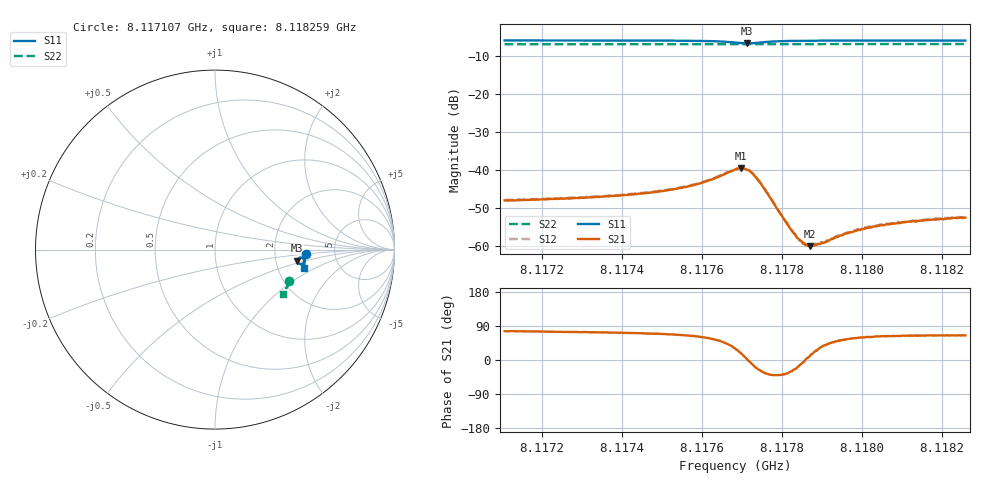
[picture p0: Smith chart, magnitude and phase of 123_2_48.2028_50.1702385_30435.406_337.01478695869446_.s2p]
#  HZ  S  RI  R  50.00
! Rohde & Schwarz Vector Network Analyzer
! Rohde-Schwarz,ZNB20-2Port,1311601062101988,3.16
! Created: UTC 3/20/2024, 11:41:35 AM
! freq[Hz]  re:S11  im:S11  re:S21  im:S21  re:S12  im:S12  re:S22  im:S22
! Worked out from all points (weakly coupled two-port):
!   401 points, 8.117107 GHz to 8.118259 GHz, reference 50 ohm
!   highest |S21| = -39.55 dB at 8.117697 GHz (marker M1); lowest = -60.1 dB at 8.11787 GHz (marker M2)
!   lowest |S11| = -6.7 dB at 8.117712 GHz (marker M3), VSWR 2.72, Z = 132 - j20.7 ohm
!   |S11| at or under -10 dB: nowhere
!   |S22| runs from -6.9 to -6.9 dB; largest |S21 - S12| = 0.00043
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8.1171067e9  0.5053 -0.0253  0.000957 0.00383  0.00101 0.00387  0.415 -0.1766
8.1172997e9  0.5038 -0.0412  0.0012 0.00412  0.00127 0.00417  0.4102 -0.1893
8.1173947e9  0.5025 -0.0496  0.00143 0.00434  0.00152 0.00441  0.4074 -0.1954
8.1174927e9  0.5003 -0.0593  0.00183 0.00482  0.00197 0.00492  0.4046 -0.2017
8.1175935e9  0.4944 -0.0721  0.00316 0.00578  0.00328 0.00588  0.4013 -0.2084
8.1176828e9  0.4678 -0.0792  0.00869 0.00514  0.00888 0.00525  0.3976 -0.2135
8.1176972e9  0.4606 -0.0727  0.01 0.00325  0.0101 0.00322  0.3969 -0.214
8.1177116e9  0.4577 -0.0616  0.01 0.000655  0.0104 0.000486  0.3965 -0.2145
8.1177231e9  0.4606 -0.0526  0.00916 -0.0014  0.00923 -0.00157  0.3965 -0.2146
8.1177404e9  0.4706 -0.0449  0.00662 -0.00305  0.0068 -0.00309  0.3964 -0.2156
8.117798e9  0.4928 -0.0521  0.00198 -0.00161  0.00198 -0.00169  0.3955 -0.2196
8.1178326e9  0.4965 -0.059  0.00128 -0.000571  0.00129 -0.000593  0.3945 -0.2218
8.1178527e9  0.4974 -0.0624  0.00106 -0.000109  0.0011 -0.000157  0.394 -0.2233
8.11787e9  0.4979 -0.0651  0.000969 0.000179  0.000989 0.000211  0.3935 -0.2245
8.1178758e9  0.4981 -0.066  0.00095 0.00027  0.000948 0.000275  0.3934 -0.2247
8.1179046e9  0.4984 -0.0697  0.000864 0.000671  0.000858 0.000696  0.3923 -0.2266
8.1179392e9  0.4985 -0.0737  0.000833 0.000998  0.000908 0.001  0.3912 -0.2288
8.1179622e9  0.4983 -0.0763  0.000853 0.00119  0.000841 0.00123  0.3905 -0.2304
8.1180141e9  0.498 -0.0813  0.000845 0.0015  0.000857 0.00155  0.3888 -0.2336
8.1180688e9  0.4973 -0.0865  0.000876 0.00172  0.000888 0.00174  0.3869 -0.237
8.118161e9  0.4961 -0.0943  0.000937 0.00198  0.000955 0.00196  0.3837 -0.2427
8.1182589e9  0.4946 -0.1023  0.000997 0.00212  0.00106 0.00213  0.3802 -0.2486
